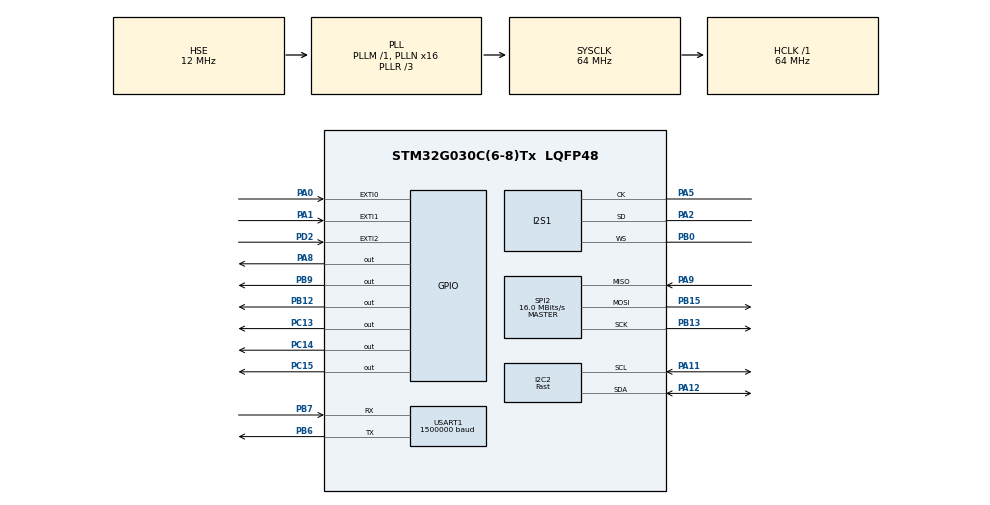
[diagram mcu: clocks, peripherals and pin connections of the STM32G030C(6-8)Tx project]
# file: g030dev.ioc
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Dma.I2C2_TX.4.Direction=DMA_MEMORY_TO_PERIPH
Dma.I2C2_TX.4.EventEnable=DISABLE
Dma.I2C2_TX.4.Instance=DMA1_Channel3
Dma.I2C2_TX.4.MemDataAlignment=DMA_MDATAALIGN_BYTE
Dma.I2C2_TX.4.MemInc=DMA_MINC_ENABLE
Dma.I2C2_TX.4.Mode=DMA_NORMAL
Dma.I2C2_TX.4.PeriphDataAlignment=DMA_PDATAALIGN_BYTE
Dma.I2C2_TX.4.PeriphInc=DMA_PINC_DISABLE
Dma.I2C2_TX.4.Polarity=HAL_DMAMUX_REQ_GEN_RISING
Dma.I2C2_TX.4.Priority=DMA_PRIORITY_MEDIUM
Dma.I2C2_TX.4.RequestNumber=1
Dma.I2C2_TX.4.SignalID=NONE
Dma.I2C2_TX.4.SyncEnable=DISABLE
Dma.I2C2_TX.4.SyncPolarity=HAL_DMAMUX_SYNC_NO_EVENT
Dma.I2C2_TX.4.SyncRequestNumber=1
Dma.I2C2_TX.4.SyncSignalID=NONE
Dma.Request0=SPI2_RX
Dma.Request1=SPI2_TX
Dma.Request2=USART1_RX
Dma.Request3=SPI1_TX
Dma.Request4=I2C2_TX
Dma.SPI1_TX.3.Direction=DMA_MEMORY_TO_PERIPH
Dma.SPI1_TX.3.EventEnable=DISABLE
Dma.SPI1_TX.3.Instance=DMA1_Channel5
Dma.SPI1_TX.3.MemDataAlignment=DMA_MDATAALIGN_HALFWORD
Dma.SPI1_TX.3.MemInc=DMA_MINC_ENABLE
Dma.SPI1_TX.3.Mode=DMA_NORMAL
Dma.SPI1_TX.3.PeriphDataAlignment=DMA_PDATAALIGN_HALFWORD
Dma.SPI1_TX.3.PeriphInc=DMA_PINC_DISABLE
Dma.SPI1_TX.3.Polarity=HAL_DMAMUX_REQ_GEN_RISING
Dma.SPI1_TX.3.Priority=DMA_PRIORITY_VERY_HIGH
Dma.SPI1_TX.3.RequestNumber=1
Dma.SPI1_TX.3.SignalID=NONE
Dma.SPI1_TX.3.SyncEnable=DISABLE
Dma.SPI1_TX.3.SyncPolarity=HAL_DMAMUX_SYNC_NO_EVENT
Dma.SPI1_TX.3.SyncRequestNumber=1
Dma.SPI1_TX.3.SyncSignalID=NONE
Dma.SPI2_RX.0.Direction=DMA_PERIPH_TO_MEMORY
Dma.SPI2_RX.0.EventEnable=DISABLE
Dma.SPI2_RX.0.Instance=DMA1_Channel1
Dma.SPI2_RX.0.MemDataAlignment=DMA_MDATAALIGN_BYTE
Dma.SPI2_RX.0.MemInc=DMA_MINC_ENABLE
Dma.SPI2_RX.0.Mode=DMA_NORMAL
Dma.SPI2_RX.0.PeriphDataAlignment=DMA_PDATAALIGN_BYTE
Dma.SPI2_RX.0.PeriphInc=DMA_PINC_DISABLE
Dma.SPI2_RX.0.Polarity=HAL_DMAMUX_REQ_GEN_RISING
Dma.SPI2_RX.0.Priority=DMA_PRIORITY_HIGH
Dma.SPI2_RX.0.RequestNumber=1
Dma.SPI2_RX.0.SignalID=NONE
Dma.SPI2_RX.0.SyncEnable=DISABLE
Dma.SPI2_RX.0.SyncPolarity=HAL_DMAMUX_SYNC_NO_EVENT
Dma.SPI2_RX.0.SyncRequestNumber=1
Dma.SPI2_RX.0.SyncSignalID=NONE
Dma.SPI2_TX.1.Direction=DMA_MEMORY_TO_PERIPH
Dma.SPI2_TX.1.EventEnable=DISABLE
Dma.SPI2_TX.1.Instance=DMA1_Channel2
Dma.SPI2_TX.1.MemDataAlignment=DMA_MDATAALIGN_BYTE
Dma.SPI2_TX.1.MemInc=DMA_MINC_ENABLE
Dma.SPI2_TX.1.Mode=DMA_NORMAL
Dma.SPI2_TX.1.PeriphDataAlignment=DMA_PDATAALIGN_BYTE
Dma.SPI2_TX.1.PeriphInc=DMA_PINC_DISABLE
Dma.SPI2_TX.1.Polarity=HAL_DMAMUX_REQ_GEN_RISING
Dma.SPI2_TX.1.Priority=DMA_PRIORITY_LOW
Dma.SPI2_TX.1.RequestNumber=1
Dma.SPI2_TX.1.SignalID=NONE
Dma.SPI2_TX.1.SyncEnable=DISABLE
Dma.SPI2_TX.1.SyncPolarity=HAL_DMAMUX_SYNC_NO_EVENT
Dma.SPI2_TX.1.SyncRequestNumber=1
Dma.SPI2_TX.1.SyncSignalID=NONE
Dma.USART1_RX.2.Direction=DMA_PERIPH_TO_MEMORY
Dma.USART1_RX.2.EventEnable=DISABLE
Dma.USART1_RX.2.Instance=DMA1_Channel4
Dma.USART1_RX.2.MemDataAlignment=DMA_MDATAALIGN_BYTE
Dma.USART1_RX.2.MemInc=DMA_MINC_ENABLE
Dma.USART1_RX.2.Mode=DMA_NORMAL
Dma.USART1_RX.2.PeriphDataAlignment=DMA_PDATAALIGN_BYTE
Dma.USART1_RX.2.PeriphInc=DMA_PINC_DISABLE
Dma.USART1_RX.2.Polarity=HAL_DMAMUX_REQ_GEN_RISING
Dma.USART1_RX.2.Priority=DMA_PRIORITY_LOW
Dma.USART1_RX.2.RequestNumber=1
Dma.USART1_RX.2.SignalID=NONE
Dma.USART1_RX.2.SyncEnable=DISABLE
Dma.USART1_RX.2.SyncPolarity=HAL_DMAMUX_SYNC_NO_EVENT
Dma.USART1_RX.2.SyncRequestNumber=1
Dma.USART1_RX.2.SyncSignalID=NONE
I2C2.I2C_Speed_Mode=I2C_Fast
I2C2.Timing=0x00C12166
I2S1.AudioFreq=I2S_AUDIOFREQ_22K
I2S1.ErrorAudioFreq=0.26 %
I2S1.FullDuplexMode=I2S_FULLDUPLEXMODE_DISABLE
I2S1.Instance=SPI$Index
I2S1.RealAudioFreq=22.058 KHz
I2S1.Standard=I2S_STANDARD_LSB
I2S1.VirtualMode=I2S_MODE_MASTER
Mcu.Family=STM32G0
Mcu.Name=STM32G030C(6-8)Tx
Mcu.Package=LQFP48
NVIC.DMA1_Ch4_5_DMAMUX1_OVR_IRQn=true\:0\:0\:false\:false\:true\:false\:true\:true
NVIC.DMA1_Channel1_IRQn=true\:0\:0\:true\:false\:true\:false\:true\:true
NVIC.DMA1_Channel2_3_IRQn=true\:0\:0\:true\:false\:true\:false\:true\:true
NVIC.EXTI0_1_IRQn=true\:3\:0\:true\:false\:true\:true\:true\:true
NVIC.EXTI2_3_IRQn=true\:3\:0\:true\:false\:true\:true\:true\:true
NVIC.I2C2_IRQn=true\:0\:0\:false\:false\:true\:true\:true\:true
NVIC.SPI2_IRQn=true\:0\:0\:true\:false\:true\:true\:true\:true
NVIC.TIM17_IRQn=true\:3\:0\:false\:false\:true\:false\:true\:true
NVIC.TimeBase=TIM17_IRQn
NVIC.TimeBaseIP=TIM17
NVIC.USART1_IRQn=true\:2\:0\:true\:false\:true\:true\:true\:true
PA0.GPIO_ModeDefaultEXTI=GPIO_MODE_IT_RISING_FALLING
PA0.GPIO_PuPd=GPIO_PULLDOWN
PA0.Signal=GPXTI0
PA1.GPIO_ModeDefaultEXTI=GPIO_MODE_IT_RISING_FALLING
PA1.GPIO_PuPd=GPIO_PULLDOWN
PA1.Signal=GPXTI1
PA11\ [PA9].Mode=I2C
PA11\ [PA9].Signal=I2C2_SCL
PA12\ [PA10].Mode=I2C
PA12\ [PA10].Signal=I2C2_SDA
PA13.Mode=Serial_Wire
PA13.Signal=SYS_SWDIO
PA14-BOOT0.Mode=Serial_Wire
PA14-BOOT0.Signal=SYS_SWCLK
PA2.Mode=Half_Duplex_Master
PA2.Signal=I2S1_SD
PA5.Mode=Half_Duplex_Master
PA5.Signal=I2S1_CK
PA8.Signal=GPIO_Output
PA9.GPIO_PuPd=GPIO_PULLUP
PA9.GPIO_Speed=GPIO_SPEED_FREQ_HIGH
PA9.Mode=Full_Duplex_Master
PA9.Signal=SPI2_MISO
PB0.Mode=Half_Duplex_Master
PB0.Signal=I2S1_WS
PB12.Signal=GPIO_Output
PB13.GPIO_Speed=GPIO_SPEED_FREQ_HIGH
PB13.Mode=Full_Duplex_Master
PB13.Signal=SPI2_SCK
PB15.Mode=Full_Duplex_Master
PB15.Signal=SPI2_MOSI
PB6.Mode=Asynchronous
PB6.Signal=USART1_TX
PB7.Mode=Asynchronous
PB7.Signal=USART1_RX
PB9.Signal=GPIO_Output
PC13.Signal=GPIO_Output
PC14-OSC32_IN\ (PC14).Signal=GPIO_Output
PC15-OSC32_OUT\ (PC15).Signal=GPIO_Output
PD2.Signal=GPXTI2
PF0-OSC_IN\ (PF0).Mode=HSE-External-Oscillator
PF0-OSC_IN\ (PF0).Signal=RCC_OSC_IN
PF1-OSC_OUT\ (PF1).Mode=HSE-External-Oscillator
PF1-OSC_OUT\ (PF1).Signal=RCC_OSC_OUT
ProjectManager.HeapSize=0x200
ProjectManager.StackSize=0x400
ProjectManager.TargetToolchain=CMake
RCC.ADCFreq_Value=64000000
RCC.AHBFreq_Value=64000000
RCC.CortexFreq_Value=64000000
RCC.EXTERNAL_CLOCK_VALUE=12288000
RCC.HCLKFreq_Value=64000000
RCC.HSE_VALUE=12000000
RCC.HSI_VALUE=16000000
RCC.I2S1CLockSelection=RCC_I2S1CLKSOURCE_PLL
RCC.LSE_VALUE=32768
RCC.PLLN=16
RCC.PLLR=RCC_PLLR_DIV3
RCC.PLLSourceVirtual=RCC_PLLSOURCE_HSE
RCC.SYSCLKFreq_VALUE=64000000
RCC.SYSCLKSource=RCC_SYSCLKSOURCE_PLLCLK
RCC.USART1CLockSelection=RCC_USART1CLKSOURCE_SYSCLK
RCC.VCOOutputFreq_Value=192000000
SPI2.BaudRatePrescaler=SPI_BAUDRATEPRESCALER_4
SPI2.CalculateBaudRate=16.0 MBits/s
SPI2.Direction=SPI_DIRECTION_2LINES
SPI2.Mode=SPI_MODE_MASTER
SPI2.VirtualType=VM_MASTER
USART1.AutoBaudRateEnableParam=UART_ADVFEATURE_AUTOBAUDRATE_DISABLE
USART1.BaudRate=1500000
USART1.FIFOMode=FIFOMODE_ENABLE
USART1.TXFIFOThreshold=TXFIFO_THRESHOLD_EMPTY
USART1.VirtualMode-Asynchronous=VM_ASYNC
VP_SYS_VS_tim17.Mode=TIM17
board=custom

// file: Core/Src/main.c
/* USER CODE BEGIN Header */
/**
  ******************************************************************************
  * @file           : main.c
  * @brief          : Main program body
  ******************************************************************************
  * @attention
  *
  * Copyright (c) 2026 STMicroelectronics.
  * All rights reserved.
  *
  * This software is licensed under terms that can be found in the LICENSE file
  * in the root directory of this software component.
  * If no LICENSE file comes with this software, it is provided AS-IS.
  *
  ******************************************************************************
  */
/* USER CODE END Header */
#include "main.h"

/* USER CODE BEGIN Includes */
#include "appManager.h"
#include "ch340.h"
#include "displayer.h"
#include "flashDownloader.h"
#include "musicPlayer.h"
#include "oled.h"

#include "TM8211.h"
#include "VmusicFS.h"
#include "w25q64.h"

/* USER CODE END Includes */

I2C_HandleTypeDef hi2c2;
DMA_HandleTypeDef hdma_i2c2_tx;

I2S_HandleTypeDef hi2s1;
DMA_HandleTypeDef hdma_spi1_tx;

SPI_HandleTypeDef hspi2;
DMA_HandleTypeDef hdma_spi2_rx;
DMA_HandleTypeDef hdma_spi2_tx;

UART_HandleTypeDef huart1;
DMA_HandleTypeDef hdma_usart1_rx;

void SystemClock_Config(void);
static void MX_GPIO_Init(void);
static void MX_DMA_Init(void);
static void MX_I2S1_Init(void);
static void MX_SPI2_Init(void);
static void MX_USART1_UART_Init(void);
static void MX_I2C2_Init(void);

/* USER CODE BEGIN 0 */
extern UART_FSM uart_fsm;
extern W25Q64 w25q64;
extern uint8_t w25q64_receivingBuffer[W25Q64_PAGE_SIZE];
extern uint8_t w25q64_sendingBuffer[W25Q64_PAGE_SIZE+W25Q64_BITSTREAM_HEAD];
extern FlashDownloader downloader;
extern TM8211 tm8211;
extern MusicPlayer musicPlayer;
extern AppManager appManager;

uint32_t last_tick = 0;
volatile uint32_t occupancy = 0;
uint8_t displayer_ready = 0;

/* USER CODE END 0 */

int main(void)
{

  /* MCU Configuration--------------------------------------------------------*/

  /* Reset of all peripherals, Initializes the Flash interface and the Systick. */
  HAL_Init();

  /* Configure the system clock */
  SystemClock_Config();

  /* Initialize all configured peripherals */
  MX_GPIO_Init();
  MX_DMA_Init();
  MX_I2S1_Init();
  MX_SPI2_Init();
  MX_USART1_UART_Init();
  MX_I2C2_Init();
  /* USER CODE BEGIN 2 */
  oled_Init(&g_oled);
  HAL_UART_FSM_Init(&uart_fsm);
  HAL_W25Q64_Init(&w25q64);
  FlashDownloader_Init(&downloader, &w25q64, &uart_fsm);
  oled_Clear(&g_oled);
  if (vMusicFS_Init(&downloader))
  {
    oled_ShowString(&g_oled,0,"     vMusic 1.0",15);
  }else
  {
    oled_ShowString(&g_oled,0,"  Page Error",15);
    switchApp(&appManager, APP_FLASH_DOWNLOADER);
    goto MAINWHILE;
  }
  HAL_TM8211_Init(&tm8211);
  musicPlayerInit(&musicPlayer, &tm8211, &w25q64, vMusicMem);
  appManagerInit(&appManager,&downloader, &musicPlayer);
  switchApp(&appManager, APP_MUSIC_PLAYER);
  musicPlayerStartPlay(&musicPlayer);
  displayerBoot();
  displayerRunning();
  displayer_ready = 1;
  //这个pb12是功放的shutdown
  /* USER CODE END 2 */

  /* Infinite loop */
  /* USER CODE BEGIN WHILE */
  MAINWHILE:
  while (1)
  {
    /* USER CODE END WHILE */

    /* USER CODE BEGIN 3 */

    if (HAL_GetTick()-last_tick > 100) {
      last_tick = HAL_GetTick();
      //操你妈傻逼hal库200次中断systick给我占了100次
      occupancy = 0;
      if (displayer_ready) {
        displayerRequest(DISPLAY_AREA_APP | DISPLAY_AREA_STATE | DISPLAY_AREA_MUSIC | DISPLAY_AREA_DOWNLOADER);
      }
    }
    occupancy++;
    downloader.running(&downloader);
    musicPlayer.running(&musicPlayer);
    if (displayer_ready) {
      displayerRunning();
    }
    __WFI();
  }
  /* USER CODE END 3 */
}

void SystemClock_Config(void)
{
  RCC_OscInitTypeDef RCC_OscInitStruct = {0};
  RCC_ClkInitTypeDef RCC_ClkInitStruct = {0};

  /** Configure the main internal regulator output voltage
  */
  HAL_PWREx_ControlVoltageScaling(PWR_REGULATOR_VOLTAGE_SCALE1);

  /** Initializes the RCC Oscillators according to the specified parameters
  * in the RCC_OscInitTypeDef structure.
  */
  RCC_OscInitStruct.OscillatorType = RCC_OSCILLATORTYPE_HSE;
  RCC_OscInitStruct.HSEState = RCC_HSE_ON;
  RCC_OscInitStruct.PLL.PLLState = RCC_PLL_ON;
  RCC_OscInitStruct.PLL.PLLSource = RCC_PLLSOURCE_HSE;
  RCC_OscInitStruct.PLL.PLLM = RCC_PLLM_DIV1;
  RCC_OscInitStruct.PLL.PLLN = 16;
  RCC_OscInitStruct.PLL.PLLP = RCC_PLLP_DIV2;
  RCC_OscInitStruct.PLL.PLLR = RCC_PLLR_DIV3;
  if (HAL_RCC_OscConfig(&RCC_OscInitStruct) != HAL_OK)
  {
    Error_Handler();
  }

  /** Initializes the CPU, AHB and APB buses clocks
  */
  RCC_ClkInitStruct.ClockType = RCC_CLOCKTYPE_HCLK|RCC_CLOCKTYPE_SYSCLK
                              |RCC_CLOCKTYPE_PCLK1;
  RCC_ClkInitStruct.SYSCLKSource = RCC_SYSCLKSOURCE_PLLCLK;
  RCC_ClkInitStruct.AHBCLKDivider = RCC_SYSCLK_DIV1;
  RCC_ClkInitStruct.APB1CLKDivider = RCC_HCLK_DIV1;

  if (HAL_RCC_ClockConfig(&RCC_ClkInitStruct, FLASH_LATENCY_2) != HAL_OK)
  {
    Error_Handler();
  }
}

static void MX_I2C2_Init(void)
{

  hi2c2.Instance = I2C2;
  hi2c2.Init.Timing = 0x00C12166;
  hi2c2.Init.OwnAddress1 = 0;
  hi2c2.Init.AddressingMode = I2C_ADDRESSINGMODE_7BIT;
  hi2c2.Init.DualAddressMode = I2C_DUALADDRESS_DISABLE;
  hi2c2.Init.OwnAddress2 = 0;
  hi2c2.Init.OwnAddress2Masks = I2C_OA2_NOMASK;
  hi2c2.Init.GeneralCallMode = I2C_GENERALCALL_DISABLE;
  hi2c2.Init.NoStretchMode = I2C_NOSTRETCH_DISABLE;
  if (HAL_I2C_Init(&hi2c2) != HAL_OK)
  {
    Error_Handler();
  }

  /** Configure Analogue filter
  */
  if (HAL_I2CEx_ConfigAnalogFilter(&hi2c2, I2C_ANALOGFILTER_ENABLE) != HAL_OK)
  {
    Error_Handler();
  }

  /** Configure Digital filter
  */
  if (HAL_I2CEx_ConfigDigitalFilter(&hi2c2, 0) != HAL_OK)
  {
    Error_Handler();
  }

}

static void MX_I2S1_Init(void)
{

  hi2s1.Instance = SPI1;
  hi2s1.Init.Mode = I2S_MODE_MASTER_TX;
  hi2s1.Init.Standard = I2S_STANDARD_LSB;
  hi2s1.Init.DataFormat = I2S_DATAFORMAT_16B;
  hi2s1.Init.MCLKOutput = I2S_MCLKOUTPUT_DISABLE;
  hi2s1.Init.AudioFreq = I2S_AUDIOFREQ_22K;
  hi2s1.Init.CPOL = I2S_CPOL_LOW;
  if (HAL_I2S_Init(&hi2s1) != HAL_OK)
  {
    Error_Handler();
  }

}

static void MX_SPI2_Init(void)
{

  /* SPI2 parameter configuration*/
  hspi2.Instance = SPI2;
  hspi2.Init.Mode = SPI_MODE_MASTER;
  hspi2.Init.Direction = SPI_DIRECTION_2LINES;
  hspi2.Init.DataSize = SPI_DATASIZE_8BIT;
  hspi2.Init.CLKPolarity = SPI_POLARITY_LOW;
  hspi2.Init.CLKPhase = SPI_PHASE_1EDGE;
  hspi2.Init.NSS = SPI_NSS_SOFT;
  hspi2.Init.BaudRatePrescaler = SPI_BAUDRATEPRESCALER_4;
  hspi2.Init.FirstBit = SPI_FIRSTBIT_MSB;
  hspi2.Init.TIMode = SPI_TIMODE_DISABLE;
  hspi2.Init.CRCCalculation = SPI_CRCCALCULATION_DISABLE;
  hspi2.Init.CRCPolynomial = 7;
  hspi2.Init.CRCLength = SPI_CRC_LENGTH_DATASIZE;
  hspi2.Init.NSSPMode = SPI_NSS_PULSE_ENABLE;
  if (HAL_SPI_Init(&hspi2) != HAL_OK)
  {
    Error_Handler();
  }

}

static void MX_USART1_UART_Init(void)
{

  huart1.Instance = USART1;
  huart1.Init.BaudRate = 1500000;
  huart1.Init.WordLength = UART_WORDLENGTH_8B;
  huart1.Init.StopBits = UART_STOPBITS_1;
  huart1.Init.Parity = UART_PARITY_NONE;
  huart1.Init.Mode = UART_MODE_TX_RX;
  huart1.Init.HwFlowCtl = UART_HWCONTROL_NONE;
  huart1.Init.OverSampling = UART_OVERSAMPLING_16;
  huart1.Init.OneBitSampling = UART_ONE_BIT_SAMPLE_DISABLE;
  huart1.Init.ClockPrescaler = UART_PRESCALER_DIV1;
  huart1.AdvancedInit.AdvFeatureInit = UART_ADVFEATURE_NO_INIT;
  if (HAL_UART_Init(&huart1) != HAL_OK)
  {
    Error_Handler();
  }
  if (HAL_UARTEx_SetTxFifoThreshold(&huart1, UART_TXFIFO_THRESHOLD_8_8) != HAL_OK)
  {
    Error_Handler();
  }
  if (HAL_UARTEx_SetRxFifoThreshold(&huart1, UART_RXFIFO_THRESHOLD_1_8) != HAL_OK)
  {
    Error_Handler();
  }
  if (HAL_UARTEx_EnableFifoMode(&huart1) != HAL_OK)
  {
    Error_Handler();
  }

}

static void MX_DMA_Init(void)
{

  /* DMA controller clock enable */
  __HAL_RCC_DMA1_CLK_ENABLE();

  /* DMA interrupt init */
  /* DMA1_Channel1_IRQn interrupt configuration */
  HAL_NVIC_SetPriority(DMA1_Channel1_IRQn, 0, 0);
  HAL_NVIC_EnableIRQ(DMA1_Channel1_IRQn);
  /* DMA1_Channel2_3_IRQn interrupt configuration */
  HAL_NVIC_SetPriority(DMA1_Channel2_3_IRQn, 0, 0);
  HAL_NVIC_EnableIRQ(DMA1_Channel2_3_IRQn);
  /* DMA1_Ch4_5_DMAMUX1_OVR_IRQn interrupt configuration */
  HAL_NVIC_SetPriority(DMA1_Ch4_5_DMAMUX1_OVR_IRQn, 0, 0);
  HAL_NVIC_EnableIRQ(DMA1_Ch4_5_DMAMUX1_OVR_IRQn);

}

static void MX_GPIO_Init(void)
{
  GPIO_InitTypeDef GPIO_InitStruct = {0};

  /* GPIO Ports Clock Enable */
  __HAL_RCC_GPIOC_CLK_ENABLE();
  __HAL_RCC_GPIOF_CLK_ENABLE();
  __HAL_RCC_GPIOA_CLK_ENABLE();
  __HAL_RCC_GPIOB_CLK_ENABLE();
  __HAL_RCC_GPIOD_CLK_ENABLE();

  /*Configure GPIO pin Output Level */
  HAL_GPIO_WritePin(GPIOC, GPIO_PIN_13|GPIO_PIN_14|GPIO_PIN_15, GPIO_PIN_RESET);

  /*Configure GPIO pin Output Level */
  HAL_GPIO_WritePin(GPIOB, GPIO_PIN_12|GPIO_PIN_9, GPIO_PIN_RESET);

  /*Configure GPIO pin Output Level */
  HAL_GPIO_WritePin(GPIOA, GPIO_PIN_8, GPIO_PIN_RESET);

  /*Configure GPIO pins : PC13 PC14 PC15 */
  GPIO_InitStruct.Pin = GPIO_PIN_13|GPIO_PIN_14|GPIO_PIN_15;
  GPIO_InitStruct.Mode = GPIO_MODE_OUTPUT_PP;
  GPIO_InitStruct.Pull = GPIO_NOPULL;
  GPIO_InitStruct.Speed = GPIO_SPEED_FREQ_LOW;
  HAL_GPIO_Init(GPIOC, &GPIO_InitStruct);

  /*Configure GPIO pins : PA0 PA1 */
  GPIO_InitStruct.Pin = GPIO_PIN_0|GPIO_PIN_1;
  GPIO_InitStruct.Mode = GPIO_MODE_IT_RISING_FALLING;
  GPIO_InitStruct.Pull = GPIO_PULLDOWN;
  HAL_GPIO_Init(GPIOA, &GPIO_InitStruct);

  /*Configure GPIO pins : PB12 PB9 */
  GPIO_InitStruct.Pin = GPIO_PIN_12|GPIO_PIN_9;
  GPIO_InitStruct.Mode = GPIO_MODE_OUTPUT_PP;
  GPIO_InitStruct.Pull = GPIO_NOPULL;
  GPIO_InitStruct.Speed = GPIO_SPEED_FREQ_LOW;
  HAL_GPIO_Init(GPIOB, &GPIO_InitStruct);

  /*Configure GPIO pin : PA8 */
  GPIO_InitStruct.Pin = GPIO_PIN_8;
  GPIO_InitStruct.Mode = GPIO_MODE_OUTPUT_PP;
  GPIO_InitStruct.Pull = GPIO_NOPULL;
  GPIO_InitStruct.Speed = GPIO_SPEED_FREQ_LOW;
  HAL_GPIO_Init(GPIOA, &GPIO_InitStruct);

  /*Configure GPIO pin : PD2 */
  GPIO_InitStruct.Pin = GPIO_PIN_2;
  GPIO_InitStruct.Mode = GPIO_MODE_IT_RISING;
  GPIO_InitStruct.Pull = GPIO_NOPULL;
  HAL_GPIO_Init(GPIOD, &GPIO_InitStruct);

  /* EXTI interrupt init*/
  HAL_NVIC_SetPriority(EXTI0_1_IRQn, 3, 0);
  HAL_NVIC_EnableIRQ(EXTI0_1_IRQn);

  HAL_NVIC_SetPriority(EXTI2_3_IRQn, 3, 0);
  HAL_NVIC_EnableIRQ(EXTI2_3_IRQn);

}

void HAL_TIM_PeriodElapsedCallback(TIM_HandleTypeDef *htim)
{
  if (htim->Instance == TIM17)
  {
    HAL_IncTick();
  }
}

void Error_Handler(void)
{
  __disable_irq();
  while (1)
  {
  }
}
